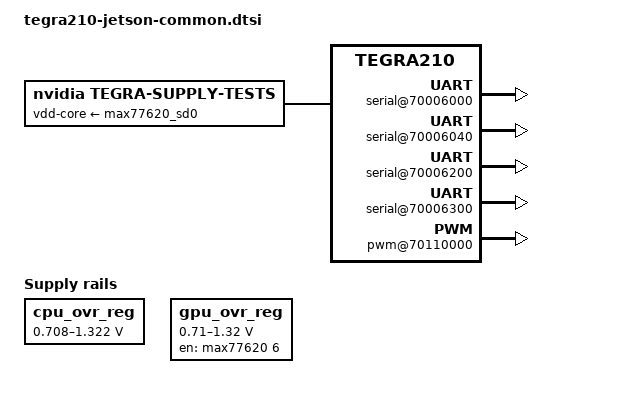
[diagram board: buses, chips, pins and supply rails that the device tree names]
/*
 * Copyright (c) 2014-2017, NVIDIA CORPORATION.  All rights reserved.
 *
 * This program is free software; you can redistribute it and/or modify
 * it under the terms of the GNU General Public License as published by
 * the Free Software Foundation; either version 2 of the License, or
 * (at your option) any later version.
 *
 * This program is distributed in the hope that it will be useful, but WITHOUT
 * ANY WARRANTY; without even the implied warranty of MERCHANTABILITY or
 * FITNESS FOR A PARTICULAR PURPOSE.  See the GNU General Public License for
 * more details.
 *
 * You should have received a copy of the GNU General Public License along
 * with this program; if not, write to the Free Software Foundation, Inc.,
 * 51 Franklin Street, Fifth Floor, Boston, MA  02110-1301, USA.
 */

#include <tegra210-soc/tegra210-soc-shield.dtsi>
#include <dt-bindings/interrupt-controller/arm-gic.h>
#include <dt-bindings/gpio/tegra-gpio.h>
#include <dt-bindings/clock/tegra210-car.h>
#include <dt-bindings/reset/tegra210-car.h>
#include <dt-bindings/soc/tegra-pmc.h>
#include <dt-bindings/thermal/tegra124-soctherm.h>
#include <dt-bindings/thermal/tegra210-trips.h>
#include <tegra210-soc/tegra210-prods.dtsi>
#include <t210-common-platforms/tegra210-platform-common-padvoltage-default.dtsi>
#include <t210-common-platforms/tegra210-ers-touch-e1937-1000-a00.dtsi>
#include <tegra210-soc/tegra210-modem-common.dtsi>
#include <tegra210-soc/tegra210-trusty.dtsi>
#include <tegra210-soc/tegra210-soc-sata.dtsi>

/ {
	nvidia,dtbbuildtime = __DATE__, __TIME__;

	serial@70006000 {
		compatible = "nvidia,tegra210-uart", "nvidia,tegra114-hsuart", "nvidia,tegra20-uart";
		console-port;
		sqa-automation-port;
		enable-rx-poll-timer;
		/delete-property/ resets;
		/delete-property/ reset-names;
		status = "okay";
	};

	serial@70006040 {
		status = "okay";
	};

	serial@70006200 {
		status = "okay";
	};

	serial@70006300 {
		status = "okay";
	};

	rtc {
		nvidia,pmc-wakeup = <&tegra_pmc PMC_WAKE_TYPE_EVENT 16
				     PMC_TRIGGER_TYPE_HIGH>;
	};

	nvpmodel {
		status = "okay";
	};

	tegra_udrm: tegra_udrm {
		compatible = "nvidia,tegra-udrm";
	};

	pmc@7000e400 {
		nvidia,suspend-mode = <0>;
		nvidia,cpu-pwr-good-time = <0>;
		nvidia,cpu-pwr-off-time = <0>;
		nvidia,core-pwr-good-time = <4587 3876>;
		nvidia,core-pwr-off-time = <39065>;
		nvidia,core-pwr-req-active-high;
		nvidia,sys-clock-req-active-high;
		#nvidia,wake-cells = <3>;
		nvidia,restrict-voltage-switch;

		iopad-defaults {
			pex-io-pads {
				pins = "pex-bias", "pex-clk1", "pex-clk2";
				low-power-enable;
			};
		};

		bootrom-commands {
			nvidia,command-retries-count = <2>;
			nvidia,delay-between-commands-us = <10>;
			nvidia,wait-start-bus-clear-us = <10>;
			#address-cells = <1>;
			#size-cells = <0>;
		};
	};

	extcon {
		id_gpio_extcon: extcon@0 {
			compatible = "extcon-gpio";
			reg = <0x0>;
			extcon-gpio,name = "ID";
			gpio = <&max77620 0 0>;
			extcon-gpio,connection-state-low;
			extcon-gpio,cable-name = "USB-Host";
			#extcon-cells = <1>;
		};
	};

	usb_cd: usb_cd@7009f000 {
		compatible = "nvidia,tegra210-usb-cd";
		reg = <0x0 0x7009f000 0x0 0x1000>;
		#extcon-cells = <1>;
		status = "disabled";
		dt-override-status-odm-data = <0x1000000 0x1000000>;
	};

	psy_extcon_xudc {
		compatible = "power-supply-extcon";
		extcon-cables = <&usb_cd 1 &usb_cd 2 &usb_cd 3
				&usb_cd 4 &usb_cd 5 &usb_cd 6
				&usb_cd 7 &usb_cd 8 &usb_cd 9>;
		extcon-cable-names = "usb-charger", "ta-charger", "maxim-charger",
				"qc2-charger", "downstream-charger", "slow-charger",
				"apple-500ma", "apple-1a", "apple-2a";
		status = "disabled";
		dt-override-status-odm-data = <0x1000000 0x1000000>;
	};

	tegra_wdt: watchdog@60005100 {
		dt-override-status-odm-data = <0x00010000 0x00010000>;
		nvidia,enable-on-init;
		timeout-sec = <120>;
		status = "disabled";
	};

	soft_wdt: soft_watchdog {
		compatible = "softdog-platform";
		status = "okay";
		dt-override-status-odm-data = <0x00030000 0x00000000>;
	};


	tegra-supply-tests {
		compatible = "nvidia,tegra-supply-tests";
		vdd-core-supply=<&max77620_sd0>;
	};

	camera-pcl {
		dpd {
			compatible = "nvidia,csi-dpd";
			#address-cells = <1>;
			#size-cells = <0>;
			num = <6>;
			csia {
				reg = <0x0 0x0 0x0 0x0>;
			};
			csib {
				reg = <0x0 0x1 0x0 0x0>;
			};
			csic {
				reg = <0x1 0x0a 0x0 0x0>;
			};
			csid {
				reg = <0x1 0x0b 0x0 0x0>;
			};
			csie {
				reg = <0x1 0x0c 0x0 0x0>;
			};
			csif {
				reg = <0x1 0x0d 0x0 0x0>;
			};
		};
	};

	rollback-protection {
		device-name = "sdmmc";
		device-method = <0x1 0x00000002>;  /* type (0x1 = ioctl), argument */
		status = "disabled";
	};

        apbmisc@70000800 {
                compatible = "nvidia,tegra210-apbmisc", "nvidia,tegra20-apbmisc";
                reg = <0x0 0x70000800 0x0 0x64>,   /* Chip revision */
                      <0x0 0x70000008 0x0 0x04>;   /* Strapping options */
        };

	pwm@7000a000 {
		nvidia,no-clk-sleeping-in-ops;
	};

	pwm@70110000 {
		pwm-regulator = <&cpu_ovr_reg>;
		status = "disabled";
	};

	pwm_regulators {
		compatible = "simple-bus";
		#address-cells = <1>;
		#size-cells = <0>;

		cpu_ovr_reg: pwm-regulator@0 {
			status = "okay";
			reg = <0>;
			compatible = "pwm-regulator";
			pwms = <&tegra_pwm_dfll 0 2500>;
			regulator-name = "vdd-cpu";
			regulator-min-microvolt = <708000>;
			regulator-max-microvolt = <1322400>;
			regulator-always-on;
			regulator-boot-on;
			voltage-table =
				<708000 0>, <727200 1>, <746400 2>,
				<765600 3>, <784800 4>, <804000 5>,
				<823200 6>, <842400 7>, <861600 8>,
				<880800 9>, <900000 10>, <919200 11>,
				<938400 12>, <957600 13>, <976800 14>,
				<996000 15>, <1015200 16>, <1034400 17>,
				<1053600 18>, <1072800 19>, <1092000 20>,
				<1111200 21>, <1130400 22>, <1149600 23>,
				<1168800 24>, <1188000 25>, <1207200 26>,
				<1226400 27>, <1245600 28>, <1264800 29>,
				<1284000 30>, <1303200 31>, <1322400 32>;
		};

		gpu_ovr_reg: pwm-regulator@1 {
			status = "okay";
			reg = <1>;
			compatible = "pwm-regulator";
			pwms = <&tegra_pwm 1 8000>;
			regulator-name = "vdd-gpu";
			regulator-min-microvolt = <710000>;
			regulator-max-microvolt = <1320000>;
			regulator-init-microvolt = <1000000>;
			regulator-n-voltages = <62>;
			regulator-enable-ramp-delay = <2000>;
			enable-gpio = <&max77620 6 0>;
			regulator-settling-time-us = <160>;
                };

	};

	cpus {
		cpu@0 {
			clocks = <&tegra_car TEGRA210_CLK_CCLK_G>,
				 <&tegra_car TEGRA210_CLK_CCLK_LP>,
				 <&tegra_car TEGRA210_CLK_PLL_X>,
				 <&tegra_car TEGRA210_CLK_PLL_P_OUT4>,
				 <&tegra_clk_dfll>;
			clock-names = "cpu_g", "cpu_lp", "pll_x", "pll_p", "dfll";
			clock-latency = <300000>;
		};
	};

	memory-controller@70019000 {
		status = "okay";
        };

	dfll_cap: dfll-cdev-cap {
		compatible = "nvidia,tegra-dfll-cdev-action";
		act-dev = <&tegra_clk_dfll>;
		cdev-type = "DFLL-cap";
		#cooling-cells = <2>; /* min followed by max */
	};

	dfll_floor: dfll-cdev-floor {
		compatible = "nvidia,tegra-dfll-cdev-action";
		act-dev = <&tegra_clk_dfll>;
		cdev-type = "DFLL-floor";
		#cooling-cells = <2>; /* min followed by max */
	};

	gpu_scaling_cdev: gpu-scaling-cdev {
		cooling-min-state = <0>;
		cooling-max-state = <5>;
		#cooling-cells = <2>;
		compatible = "nvidia,tegra210-rail-scaling-cdev";
		cdev-type = "gpu_scaling";
		nvidia,constraint;
		nvidia,trips = <&gpu_scaling_trip0 950 &gpu_scaling_trip1 0
				&gpu_scaling_trip2 0 &gpu_scaling_trip3 0
				&gpu_scaling_trip4 0 &gpu_scaling_trip5 0>;
	};

	gpu_vmax_cdev: gpu-vmax-cdev {
		cooling-min-state = <0>;
		cooling-max-state = <1>;
		#cooling-cells = <2>;
		compatible = "nvidia,tegra210-rail-vmax-cdev";
		cdev-type = "GPU-cap";
		nvidia,constraint-ucm2;
		nvidia,trips = <&gpu_vmax_trip1 1132 1090>;
		clocks = <&tegra_car TEGRA210_CLK_CAP_VGPU_GBUS>;
		clock-names = "cap-clk";
	};

	thermal-zones {
		CPU-therm {
			trips {
				dfll_cap_trip0: dfll-cap-trip0 {
					temperature = <TEGRA210_DFLL_THERMAL_CAP_0>; /* millicelsius */
					hysteresis = <1000>; /* millicelsius */
					type = "active";
				};
				dfll_cap_trip1: dfll-cap-trip1 {
					temperature = <TEGRA210_DFLL_THERMAL_CAP_1>; /* millicelsius */
					hysteresis = <1000>; /* millicelsius */
					type = "active";
				};

				cpu_vmax1: cpu-vmax1 {
					temperature = <66000>;
					hysteresis = <1000>;
					type = "active";
				};

				cpu_vmax2: cpu-vmax2 {
					temperature = <86000>;
					hysteresis = <1000>;
					type = "active";
				};

				gpu_vmax1: gpu-vmax1 {
					temperature = <83000>;
					hysteresis = <1000>;
					type = "active";
				};

				core_vmax1: core-vmax1 {
					temperature = <86000>;
					hysteresis = <1000>;
					type = "active";
				};
			};

			cooling-maps {
				dfll-cap-map0 {
					trip = <&dfll_cap_trip0>;
					cooling-device = <&dfll_cap 1 1>;
				};
				dfll-cap-map1 {
					trip = <&dfll_cap_trip1>;
					cooling-device = <&dfll_cap 2 2>;
				};
			};
		};

		Tdiode_tegra {
			trips {
				gpu_scaling_trip0: gpu-scaling-trip0 {
					temperature = <(-25000)>; /* millicelsius */
					hysteresis = <0>; /* millicelsius */
					type = "active";
				};
				gpu_scaling_trip1: gpu-scaling-trip1 {
					temperature = <15000>; /* millicelsius */
					hysteresis = <1000>; /* millicelsius */
					type = "active";
				};
				gpu_scaling_trip2: gpu-scaling-trip2 {
					temperature = <30000>; /* millicelsius */
					hysteresis = <1000>; /* millicelsius */
					type = "active";
				};
				gpu_scaling_trip3: gpu-scaling-trip3 {
					temperature = <50000>; /* millicelsius */
					hysteresis = <1000>; /* millicelsius */
					type = "active";
				};
				gpu_scaling_trip4: gpu-scaling-trip4 {
					temperature = <70000>; /* millicelsius */
					hysteresis = <1000>; /* millicelsius */
					type = "active";
				};
				gpu_scaling_trip5: gpu-scaling-trip5 {
					temperature = <105000>; /* millicelsius */
					hysteresis = <1000>; /* millicelsius */
					type = "active";
				};

				gpu_vmax_trip1: gpu-vmax-trip1 {
					temperature = <83000>; /* millicelsius */
					hysteresis = <1000>; /* millicelsius */
					type = "active";
				};

				core_dvfs_floor_trip0: core_dvfs_floor_trip0 {
					temperature = <15000>;
					hysteresis = <1000>;
					type = "active";
				};

				core_dvfs_cap_trip0: core_dvfs_cap_trip0 {
					temperature = <86000>;
					hysteresis = <1000>;
					type = "active";
				};

				dfll_floor_trip0: dfll-floor-trip0 {
					temperature = <TEGRA210_DFLL_THERMAL_FLOOR_0>; /* millicelsius */
					hysteresis = <1000>; /* millicelsius */
					type = "active";
				};
			};

			cooling-maps {
				gpu-scaling-map1 {
					trip = <&gpu_scaling_trip1>;
					cooling-device = <&gpu_scaling_cdev 1 1>;
				};
				gpu-scaling-map2 {
					trip = <&gpu_scaling_trip2>;
					cooling-device = <&gpu_scaling_cdev 2 2>;
				};
				gpu_scaling_map3 {
					trip = <&gpu_scaling_trip3>;
					cooling-device = <&gpu_scaling_cdev 3 3>;
				};
				gpu-scaling-map4 {
					trip = <&gpu_scaling_trip4>;
					cooling-device = <&gpu_scaling_cdev 4 4>;
				};
				gpu-scaling-map5 {
					trip = <&gpu_scaling_trip5>;
					cooling-device = <&gpu_scaling_cdev 5 5>;
				};

				gpu-vmax-map1 {
					trip = <&gpu_vmax_trip1>;
					cooling-device = <&gpu_vmax_cdev 1 1>;
				};

				core_dvfs_floor_map0 {
					trip = <&core_dvfs_floor_trip0>;
					cooling-device = <&core_dvfs_floor 1 1>;
				};
				core_dvfs_cap_map0 {
					trip = <&core_dvfs_cap_trip0>;
					cooling-device = <&core_dvfs_cap 1 1>;
				};

				dfll-floor-map0 {
					trip = <&dfll_floor_trip0>;
					cooling-device = <&dfll_floor 1 1>;
				};
			};
		};
	};

	pinmux@700008d4 {
		dvfs_pwm_active_state: dvfs_pwm_active {
			dvfs_pwm_pbb1 {
				nvidia,pins = "dvfs_pwm_pbb1";
				nvidia,tristate = <TEGRA_PIN_DISABLE>;
			};
		};

		dvfs_pwm_inactive_state: dvfs_pwm_inactive {
			dvfs_pwm_pbb1 {
				nvidia,pins = "dvfs_pwm_pbb1";
				nvidia,tristate = <TEGRA_PIN_ENABLE>;
			};
		};
	};

	pwm@70110000 {
		status = "okay";
		pinctrl-0 = <&dvfs_pwm_active_state>;
		pinctrl-1 = <&dvfs_pwm_inactive_state>;
	};

	gpio@6000d000 {
		/* gpio-name for 40-pin header, gpio-name given as COL(10) x ROW(20) */
		gpio-line-names = "",   "",     "",     "",     "",     "",     "",     "",     "I2S0_LRCLK",     "I2S0_SDIN",
		"I2S0_SDOUT",     "I2S0_CLK",     "",    "",    "",     "",     "SPI1_MOSI",    "SPI1_MISO",    "SPI1_CLK",     "SPI1_CS0",
		"SPI1_CS1",     "",     "",     "",     "",     "",     "",     "",     "",     "",
		"",     "",     "",     "",     "",     "",     "AO_DMIC_IN_CLK",     "AO_DMIC_IN_DAT",     "GPIO20_AUD_INT",      "",
		"",     "",     "",     "",     "",     "",     "",     "",     "",     "",
		"",    "",    "",     "",     "",     "",     "",     "",     "",     "GPIO11_AP_WAKE_BT",
		"",     "",     "",     "",     "",     "",     "",     "",     "",     "",
		"",     "",     "",     "",     "",     "",     "",    "",    "",   "",
		"",     "",     "",     "",     "",     "",     "",     "",     "",     "",
		"",     "",     "",     "",     "",     "",     "",     "",     "",     "",
		"",     "",     "",     "",     "",     "",     "",     "",     "",     "",
		"",     "",     "",     "",     "",     "",     "",     "",     "",     "",
		"",     "",     "",     "",     "",     "",     "",     "",     "",     "",
		"",     "",     "",     "",     "",     "",     "",     "",     "",     "",
		"",     "",     "",     "",     "",     "",     "",     "",     "",     "",
		"",     "",     "",     "",     "",     "",     "",     "",     "",     "",
		"",     "",     "UART0_RTS",     "UART0_CTS",     "",     "",     "",     "",     "",   "",
		"",     "",     "",     "",     "",     "",     "",     "",     "",     "",
		"",     "",     "",     "",     "GPIO16_MDM_WAKE_AP",     "",     "GPIO9_MOTION_INT",     "GPIO8_ALS_PROX_INT",     "",     "",
		"",     "",     "",     "",     "",       "",     "",     "",     "",     "",
		"",     "",     "",     "",     "",     "",     "",     "",     "",     "",
		"",     "",     "",     "",     "",     "",     "AUDIO_MCLK",     "",     "",     "GPIO19_AUD_RST",
		"",     "",     "",     "",     "",     "",     "",     "",     "",     "",
		"",     "",     "",     "",     "",     "",     "",     "",     "",     "";
	};
};
